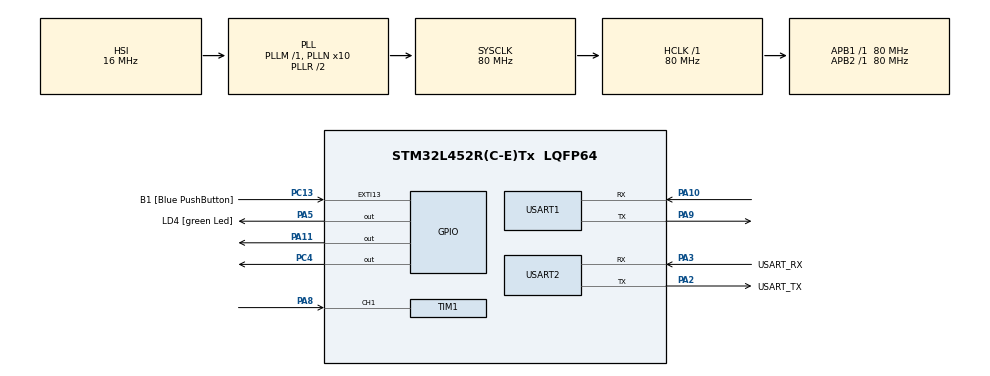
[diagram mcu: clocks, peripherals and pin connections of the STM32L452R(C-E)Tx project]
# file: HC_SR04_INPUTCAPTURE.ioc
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Dma.Request0=USART1_RX
Dma.Request1=USART1_TX
Dma.USART1_RX.0.Direction=DMA_PERIPH_TO_MEMORY
Dma.USART1_RX.0.Instance=DMA1_Channel5
Dma.USART1_RX.0.MemDataAlignment=DMA_MDATAALIGN_BYTE
Dma.USART1_RX.0.MemInc=DMA_MINC_ENABLE
Dma.USART1_RX.0.Mode=DMA_CIRCULAR
Dma.USART1_RX.0.PeriphDataAlignment=DMA_PDATAALIGN_BYTE
Dma.USART1_RX.0.PeriphInc=DMA_PINC_DISABLE
Dma.USART1_RX.0.Priority=DMA_PRIORITY_LOW
Dma.USART1_TX.1.Direction=DMA_MEMORY_TO_PERIPH
Dma.USART1_TX.1.Instance=DMA1_Channel4
Dma.USART1_TX.1.MemDataAlignment=DMA_MDATAALIGN_BYTE
Dma.USART1_TX.1.MemInc=DMA_MINC_ENABLE
Dma.USART1_TX.1.Mode=DMA_NORMAL
Dma.USART1_TX.1.PeriphDataAlignment=DMA_PDATAALIGN_BYTE
Dma.USART1_TX.1.PeriphInc=DMA_PINC_DISABLE
Dma.USART1_TX.1.Priority=DMA_PRIORITY_LOW
Mcu.Family=STM32L4
Mcu.Name=STM32L452R(C-E)Tx
Mcu.Package=LQFP64
NVIC.DMA1_Channel4_IRQn=true\:0\:0\:false\:false\:true\:false\:true
NVIC.DMA1_Channel5_IRQn=true\:0\:0\:false\:false\:true\:false\:true
NVIC.PriorityGroup=NVIC_PRIORITYGROUP_4
NVIC.TIM1_CC_IRQn=true\:0\:0\:false\:false\:true\:true\:true
NVIC.TIM1_UP_TIM16_IRQn=true\:0\:0\:false\:false\:true\:true\:true
NVIC.TIM2_IRQn=true\:0\:0\:false\:false\:true\:true\:true
NVIC.USART1_IRQn=true\:0\:0\:false\:false\:true\:true\:true
NVIC.USART2_IRQn=true\:0\:0\:false\:false\:true\:true\:true
PA10.Mode=Asynchronous
PA10.Signal=USART1_RX
PA11.GPIO_Speed=GPIO_SPEED_FREQ_VERY_HIGH
PA11.Signal=GPIO_Output
PA13\ (JTMS/SWDIO).GPIO_Label=TMS
PA13\ (JTMS/SWDIO).Mode=Serial_Wire
PA13\ (JTMS/SWDIO).Signal=SYS_JTMS-SWDIO
PA14\ (JTCK/SWCLK).GPIO_Label=TCK
PA14\ (JTCK/SWCLK).Mode=Serial_Wire
PA14\ (JTCK/SWCLK).Signal=SYS_JTCK-SWCLK
PA2.GPIO_Label=USART_TX
PA2.GPIO_Mode=GPIO_MODE_AF_PP
PA2.GPIO_PuPd=GPIO_NOPULL
PA2.GPIO_Speed=GPIO_SPEED_FREQ_VERY_HIGH
PA2.Mode=Asynchronous
PA2.Signal=USART2_TX
PA3.GPIO_Label=USART_RX
PA3.GPIO_Mode=GPIO_MODE_AF_PP
PA3.GPIO_PuPd=GPIO_NOPULL
PA3.GPIO_Speed=GPIO_SPEED_FREQ_VERY_HIGH
PA3.Mode=Asynchronous
PA3.Signal=USART2_RX
PA5.GPIO_Label=LD4 [green Led]
PA5.GPIO_ModeDefaultOutputPP=GPIO_MODE_OUTPUT_PP
PA5.GPIO_PuPd=GPIO_NOPULL
PA5.GPIO_Speed=GPIO_SPEED_FREQ_LOW
PA5.Signal=GPIO_Output
PA8.Signal=S_TIM1_CH1
PA9.Mode=Asynchronous
PA9.Signal=USART1_TX
PB3\ (JTDO/TRACESWO).GPIO_Label=SWO
PB3\ (JTDO/TRACESWO).Signal=SYS_JTDO-SWO
PC13.GPIO_Label=B1 [Blue PushButton]
PC13.GPIO_ModeDefaultEXTI=GPIO_MODE_IT_FALLING
PC13.GPIO_PuPd=GPIO_NOPULL
PC13.Signal=GPXTI13
PC14-OSC32_IN\ (PC14).Mode=LSE-External-Oscillator
PC14-OSC32_IN\ (PC14).Signal=RCC_OSC32_IN
PC15-OSC32_OUT\ (PC15).Mode=LSE-External-Oscillator
PC15-OSC32_OUT\ (PC15).Signal=RCC_OSC32_OUT
PC4.GPIO_Speed=GPIO_SPEED_FREQ_VERY_HIGH
PC4.Signal=GPIO_Output
PH0-OSC_IN\ (PH0).Signal=RCC_OSC_IN
PH1-OSC_OUT\ (PH1).Signal=RCC_OSC_OUT
ProjectManager.HeapSize=0x200
ProjectManager.StackSize=0x400
ProjectManager.TargetToolchain=STM32CubeIDE
RCC.ADCFreq_Value=64000000
RCC.AHBFreq_Value=80000000
RCC.APB1Freq_Value=80000000
RCC.APB1TimFreq_Value=80000000
RCC.APB2Freq_Value=80000000
RCC.APB2TimFreq_Value=80000000
RCC.CortexFreq_Value=80000000
RCC.HCLKFreq_Value=80000000
RCC.HSE_VALUE=8000000
RCC.HSI48_VALUE=48000000
RCC.HSI_VALUE=16000000
RCC.MSI_VALUE=4000000
RCC.PLLN=10
RCC.PLLSourceVirtual=RCC_PLLSOURCE_HSI
RCC.PREFETCH_ENABLE=1
RCC.SYSCLKFreq_VALUE=80000000
RCC.SYSCLKSource=RCC_SYSCLKSOURCE_PLLCLK
RCC.USBFreq_Value=64000000
RCC.VCOOutputFreq_Value=160000000
SH.S_TIM1_CH1.0=TIM1_CH1,Input_Capture1_from_TI1
TIM1.Channel-Input_Capture1_from_TI1=TIM_CHANNEL_1
TIM1.Period=80-1
TIM1.Prescaler=10-1
USART1.VirtualMode-Asynchronous=VM_ASYNC
USART2.VirtualMode-Asynchronous=VM_ASYNC
VP_TIM1_VS_ClockSourceINT.Mode=Internal
VP_TIM2_VS_ClockSourceINT.Mode=Internal
board=NUCLEO-L452RE

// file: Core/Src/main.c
/* USER CODE BEGIN Header */
/**
  ******************************************************************************
  * @file           : main.c
  * @brief          : Main program body
  ******************************************************************************
  * @attention
  *
  * <h2><center>&copy; Copyright (c) 2020 STMicroelectronics.
  * All rights reserved.</center></h2>
  *
  * This software component is licensed by ST under BSD 3-Clause license,
  * the "License"; You may not use this file except in compliance with the
  * License. You may obtain a copy of the License at:
  *                        opensource.org/licenses/BSD-3-Clause
  *
  ******************************************************************************
  */
/* USER CODE END Header */
#include "main.h"

/* USER CODE BEGIN Includes */
#include "string.h"
/* USER CODE END Includes */

TIM_HandleTypeDef htim1;
TIM_HandleTypeDef htim2;

UART_HandleTypeDef huart1;
UART_HandleTypeDef huart2;
DMA_HandleTypeDef hdma_usart1_rx;
DMA_HandleTypeDef hdma_usart1_tx;

/* USER CODE BEGIN PV */
uint8_t tx_buff[] = {0,1,2,3,4,5,6,7,8,9};
uint8_t tx_dis_buff[] = {'D','I','S','T','A','N','C','E','=',0};
uint8_t rx_buff[25] = {0};
/* USER CODE END PV */

void SystemClock_Config(void);
static void MX_GPIO_Init(void);
static void MX_DMA_Init(void);
static void MX_USART2_UART_Init(void);
static void MX_TIM1_Init(void);
static void MX_USART1_UART_Init(void);
static void MX_TIM2_Init(void);
/* USER CODE BEGIN PFP */
void USAR_UART_IDLECallback(UART_HandleTypeDef *huart);

/* USER CODE END PFP */

/* USER CODE BEGIN 0 */

uint32_t IC_Val1 = 0;
uint32_t IC_Val2 = 0;
uint32_t Difference = 0;
uint8_t Is_First_Captured = 0;  // is the first value captured ?
uint8_t Distance  = 0;

#define TRIG_PIN GPIO_PIN_4
#define TRIG_PORT GPIOC

void HAL_TIM_IC_CaptureCallback(TIM_HandleTypeDef *htim)
{
	if (htim->Channel == HAL_TIM_ACTIVE_CHANNEL_1)  // if the interrupt source is channel1
	{
		if (Is_First_Captured==0) // if the first value is not captured
		{
			IC_Val1 = HAL_TIM_ReadCapturedValue(htim, TIM_CHANNEL_1); // read the first value
			Is_First_Captured = 1;  // set the first captured as true
			// Now change the polarity to falling edge
			__HAL_TIM_SET_CAPTUREPOLARITY(htim, TIM_CHANNEL_1, TIM_INPUTCHANNELPOLARITY_FALLING);
		}

		else if (Is_First_Captured==1)   // if the first is already captured
		{
			IC_Val2 = HAL_TIM_ReadCapturedValue(htim, TIM_CHANNEL_1);  // read second value
			__HAL_TIM_SET_COUNTER(htim, 0);  // reset the counter

			if (IC_Val2 > IC_Val1)
			{
				Difference = IC_Val2-IC_Val1;
			}

			else if (IC_Val1 > IC_Val2)
			{
				Difference = (0xffff - IC_Val1) + IC_Val2;
			}

			Distance = Difference * .034/2;
			Is_First_Captured = 0; // set it back to false

			// set polarity to rising edge
			__HAL_TIM_SET_CAPTUREPOLARITY(htim, TIM_CHANNEL_1, TIM_INPUTCHANNELPOLARITY_RISING);
			__HAL_TIM_DISABLE_IT(&htim1, TIM_IT_CC1);
		}
	}
}

void HCSR04_Read (void)
{
	HAL_GPIO_WritePin(TRIG_PORT, TRIG_PIN, GPIO_PIN_SET);  // pull the TRIG pin HIGH
	HAL_Delay(1);
	HAL_GPIO_WritePin(TRIG_PORT, TRIG_PIN, GPIO_PIN_RESET);  // pull the TRIG pin low

	__HAL_TIM_ENABLE_IT(&htim1, TIM_IT_CC1);
}

/* USER CODE END 0 */

int main(void)
{

  /* MCU Configuration--------------------------------------------------------*/

  /* Reset of all peripherals, Initializes the Flash interface and the Systick. */
  HAL_Init();

  /* Configure the system clock */
  SystemClock_Config();

  /* Initialize all configured peripherals */
  MX_GPIO_Init();
  MX_DMA_Init();
  MX_USART2_UART_Init();
  MX_TIM1_Init();
  MX_USART1_UART_Init();
  MX_TIM2_Init();
  /* USER CODE BEGIN 2 */
  HAL_TIM_IC_Start_IT(&htim1, TIM_CHANNEL_1);
  __HAL_UART_ENABLE_IT(&huart1, UART_IT_IDLE);
  HAL_Delay(500);
  HAL_UART_Receive_DMA(&huart1, (uint8_t*)rx_buff, 25);
  HAL_Delay(500);
  /* USER CODE END 2 */

  /* Infinite loop */
  while (1)
  {

    /* USER CODE BEGIN 3 */
	  HCSR04_Read();
	  HAL_Delay(200);

	  if(Distance)
	  {
		  tx_dis_buff[9] = Distance + 0x30;
		  HAL_UART_Transmit_DMA(&huart1, (uint8_t*)tx_dis_buff, 10);
	  }
  }
  /* USER CODE END 3 */
}

void SystemClock_Config(void)
{
  RCC_OscInitTypeDef RCC_OscInitStruct = {0};
  RCC_ClkInitTypeDef RCC_ClkInitStruct = {0};
  RCC_PeriphCLKInitTypeDef PeriphClkInit = {0};

  /** Initializes the RCC Oscillators according to the specified parameters
  * in the RCC_OscInitTypeDef structure.
  */
  RCC_OscInitStruct.OscillatorType = RCC_OSCILLATORTYPE_HSI;
  RCC_OscInitStruct.HSIState = RCC_HSI_ON;
  RCC_OscInitStruct.HSICalibrationValue = RCC_HSICALIBRATION_DEFAULT;
  RCC_OscInitStruct.PLL.PLLState = RCC_PLL_ON;
  RCC_OscInitStruct.PLL.PLLSource = RCC_PLLSOURCE_HSI;
  RCC_OscInitStruct.PLL.PLLM = 1;
  RCC_OscInitStruct.PLL.PLLN = 10;
  RCC_OscInitStruct.PLL.PLLP = RCC_PLLP_DIV7;
  RCC_OscInitStruct.PLL.PLLQ = RCC_PLLQ_DIV2;
  RCC_OscInitStruct.PLL.PLLR = RCC_PLLR_DIV2;
  if (HAL_RCC_OscConfig(&RCC_OscInitStruct) != HAL_OK)
  {
    Error_Handler();
  }
  /** Initializes the CPU, AHB and APB buses clocks
  */
  RCC_ClkInitStruct.ClockType = RCC_CLOCKTYPE_HCLK|RCC_CLOCKTYPE_SYSCLK
                              |RCC_CLOCKTYPE_PCLK1|RCC_CLOCKTYPE_PCLK2;
  RCC_ClkInitStruct.SYSCLKSource = RCC_SYSCLKSOURCE_PLLCLK;
  RCC_ClkInitStruct.AHBCLKDivider = RCC_SYSCLK_DIV1;
  RCC_ClkInitStruct.APB1CLKDivider = RCC_HCLK_DIV1;
  RCC_ClkInitStruct.APB2CLKDivider = RCC_HCLK_DIV1;

  if (HAL_RCC_ClockConfig(&RCC_ClkInitStruct, FLASH_LATENCY_4) != HAL_OK)
  {
    Error_Handler();
  }
  PeriphClkInit.PeriphClockSelection = RCC_PERIPHCLK_USART1|RCC_PERIPHCLK_USART2;
  PeriphClkInit.Usart1ClockSelection = RCC_USART1CLKSOURCE_PCLK2;
  PeriphClkInit.Usart2ClockSelection = RCC_USART2CLKSOURCE_PCLK1;
  if (HAL_RCCEx_PeriphCLKConfig(&PeriphClkInit) != HAL_OK)
  {
    Error_Handler();
  }
  /** Configure the main internal regulator output voltage
  */
  if (HAL_PWREx_ControlVoltageScaling(PWR_REGULATOR_VOLTAGE_SCALE1) != HAL_OK)
  {
    Error_Handler();
  }
}

static void MX_TIM1_Init(void)
{

  TIM_ClockConfigTypeDef sClockSourceConfig = {0};
  TIM_MasterConfigTypeDef sMasterConfig = {0};
  TIM_IC_InitTypeDef sConfigIC = {0};

  htim1.Instance = TIM1;
  htim1.Init.Prescaler = 80-1;
  htim1.Init.CounterMode = TIM_COUNTERMODE_UP;
  htim1.Init.Period = 65535-1;
  htim1.Init.ClockDivision = TIM_CLOCKDIVISION_DIV1;
  htim1.Init.RepetitionCounter = 0;
  htim1.Init.AutoReloadPreload = TIM_AUTORELOAD_PRELOAD_DISABLE;
  if (HAL_TIM_Base_Init(&htim1) != HAL_OK)
  {
    Error_Handler();
  }
  sClockSourceConfig.ClockSource = TIM_CLOCKSOURCE_INTERNAL;
  if (HAL_TIM_ConfigClockSource(&htim1, &sClockSourceConfig) != HAL_OK)
  {
    Error_Handler();
  }
  if (HAL_TIM_IC_Init(&htim1) != HAL_OK)
  {
    Error_Handler();
  }
  sMasterConfig.MasterOutputTrigger = TIM_TRGO_RESET;
  sMasterConfig.MasterOutputTrigger2 = TIM_TRGO2_RESET;
  sMasterConfig.MasterSlaveMode = TIM_MASTERSLAVEMODE_DISABLE;
  if (HAL_TIMEx_MasterConfigSynchronization(&htim1, &sMasterConfig) != HAL_OK)
  {
    Error_Handler();
  }
  sConfigIC.ICPolarity = TIM_INPUTCHANNELPOLARITY_RISING;
  sConfigIC.ICSelection = TIM_ICSELECTION_DIRECTTI;
  sConfigIC.ICPrescaler = TIM_ICPSC_DIV1;
  sConfigIC.ICFilter = 0;
  if (HAL_TIM_IC_ConfigChannel(&htim1, &sConfigIC, TIM_CHANNEL_1) != HAL_OK)
  {
    Error_Handler();
  }

}

static void MX_TIM2_Init(void)
{

  TIM_ClockConfigTypeDef sClockSourceConfig = {0};
  TIM_MasterConfigTypeDef sMasterConfig = {0};

  htim2.Instance = TIM2;
  htim2.Init.Prescaler = 0;
  htim2.Init.CounterMode = TIM_COUNTERMODE_UP;
  htim2.Init.Period = 4294967295;
  htim2.Init.ClockDivision = TIM_CLOCKDIVISION_DIV1;
  htim2.Init.AutoReloadPreload = TIM_AUTORELOAD_PRELOAD_DISABLE;
  if (HAL_TIM_Base_Init(&htim2) != HAL_OK)
  {
    Error_Handler();
  }
  sClockSourceConfig.ClockSource = TIM_CLOCKSOURCE_INTERNAL;
  if (HAL_TIM_ConfigClockSource(&htim2, &sClockSourceConfig) != HAL_OK)
  {
    Error_Handler();
  }
  sMasterConfig.MasterOutputTrigger = TIM_TRGO_RESET;
  sMasterConfig.MasterSlaveMode = TIM_MASTERSLAVEMODE_DISABLE;
  if (HAL_TIMEx_MasterConfigSynchronization(&htim2, &sMasterConfig) != HAL_OK)
  {
    Error_Handler();
  }

}

static void MX_USART1_UART_Init(void)
{

  huart1.Instance = USART1;
  huart1.Init.BaudRate = 115200;
  huart1.Init.WordLength = UART_WORDLENGTH_8B;
  huart1.Init.StopBits = UART_STOPBITS_1;
  huart1.Init.Parity = UART_PARITY_NONE;
  huart1.Init.Mode = UART_MODE_TX_RX;
  huart1.Init.HwFlowCtl = UART_HWCONTROL_NONE;
  huart1.Init.OverSampling = UART_OVERSAMPLING_16;
  huart1.Init.OneBitSampling = UART_ONE_BIT_SAMPLE_DISABLE;
  huart1.AdvancedInit.AdvFeatureInit = UART_ADVFEATURE_NO_INIT;
  if (HAL_UART_Init(&huart1) != HAL_OK)
  {
    Error_Handler();
  }

}

static void MX_USART2_UART_Init(void)
{

  huart2.Instance = USART2;
  huart2.Init.BaudRate = 115200;
  huart2.Init.WordLength = UART_WORDLENGTH_8B;
  huart2.Init.StopBits = UART_STOPBITS_1;
  huart2.Init.Parity = UART_PARITY_NONE;
  huart2.Init.Mode = UART_MODE_TX_RX;
  huart2.Init.HwFlowCtl = UART_HWCONTROL_NONE;
  huart2.Init.OverSampling = UART_OVERSAMPLING_16;
  huart2.Init.OneBitSampling = UART_ONE_BIT_SAMPLE_DISABLE;
  huart2.AdvancedInit.AdvFeatureInit = UART_ADVFEATURE_NO_INIT;
  if (HAL_UART_Init(&huart2) != HAL_OK)
  {
    Error_Handler();
  }

}

static void MX_DMA_Init(void)
{

  /* DMA controller clock enable */
  __HAL_RCC_DMA1_CLK_ENABLE();

  /* DMA interrupt init */
  /* DMA1_Channel4_IRQn interrupt configuration */
  HAL_NVIC_SetPriority(DMA1_Channel4_IRQn, 0, 0);
  HAL_NVIC_EnableIRQ(DMA1_Channel4_IRQn);
  /* DMA1_Channel5_IRQn interrupt configuration */
  HAL_NVIC_SetPriority(DMA1_Channel5_IRQn, 0, 0);
  HAL_NVIC_EnableIRQ(DMA1_Channel5_IRQn);

}

static void MX_GPIO_Init(void)
{
  GPIO_InitTypeDef GPIO_InitStruct = {0};

  /* GPIO Ports Clock Enable */
  __HAL_RCC_GPIOC_CLK_ENABLE();
  __HAL_RCC_GPIOH_CLK_ENABLE();
  __HAL_RCC_GPIOA_CLK_ENABLE();
  __HAL_RCC_GPIOB_CLK_ENABLE();

  /*Configure GPIO pin Output Level */
  HAL_GPIO_WritePin(GPIOA, LD4_Pin|GPIO_PIN_11, GPIO_PIN_RESET);

  /*Configure GPIO pin Output Level */
  HAL_GPIO_WritePin(GPIOC, GPIO_PIN_4, GPIO_PIN_RESET);

  /*Configure GPIO pin : B1_Pin */
  GPIO_InitStruct.Pin = B1_Pin;
  GPIO_InitStruct.Mode = GPIO_MODE_IT_FALLING;
  GPIO_InitStruct.Pull = GPIO_NOPULL;
  HAL_GPIO_Init(B1_GPIO_Port, &GPIO_InitStruct);

  /*Configure GPIO pin : LD4_Pin */
  GPIO_InitStruct.Pin = LD4_Pin;
  GPIO_InitStruct.Mode = GPIO_MODE_OUTPUT_PP;
  GPIO_InitStruct.Pull = GPIO_NOPULL;
  GPIO_InitStruct.Speed = GPIO_SPEED_FREQ_LOW;
  HAL_GPIO_Init(LD4_GPIO_Port, &GPIO_InitStruct);

  /*Configure GPIO pin : PC4 */
  GPIO_InitStruct.Pin = GPIO_PIN_4;
  GPIO_InitStruct.Mode = GPIO_MODE_OUTPUT_PP;
  GPIO_InitStruct.Pull = GPIO_NOPULL;
  GPIO_InitStruct.Speed = GPIO_SPEED_FREQ_VERY_HIGH;
  HAL_GPIO_Init(GPIOC, &GPIO_InitStruct);

  /*Configure GPIO pin : PA11 */
  GPIO_InitStruct.Pin = GPIO_PIN_11;
  GPIO_InitStruct.Mode = GPIO_MODE_OUTPUT_PP;
  GPIO_InitStruct.Pull = GPIO_NOPULL;
  GPIO_InitStruct.Speed = GPIO_SPEED_FREQ_VERY_HIGH;
  HAL_GPIO_Init(GPIOA, &GPIO_InitStruct);

}

/* USER CODE BEGIN 4 */

#define  BUFFER_SIZE 25
void USAR_UART_IDLECallback(UART_HandleTypeDef *huart)
{
	//Stop this DMA transmission
    HAL_UART_DMAStop(&huart1);

    //Calculate the length of the received data
    uint8_t data_length  = BUFFER_SIZE - __HAL_DMA_GET_COUNTER(&hdma_usart1_rx);

	//Test function: Print out the received data

    HAL_UART_Transmit_DMA(&huart1, (uint8_t*)tx_buff, 10);

    //HAL_Delay(50);
	//Zero Recei;ving Buffer
    memset(rx_buff,0,data_length);
    data_length = 0;
   // HAL_Delay(50);
    //Restart to start DMA transmission of 255 bytes of data at a time
   if( HAL_UART_Receive_DMA(&huart1, (uint8_t*)rx_buff, 25) != HAL_OK)
   {
	  // printf("Something Wrong");
   }

  // __HAL_UART_ENABLE_IT(&huart1, UART_IT_IDLE);
}

/* USER CODE END 4 */

void Error_Handler(void)
{
}

/************************ (C) COPYRIGHT STMicroelectronics *****END OF FILE****/
